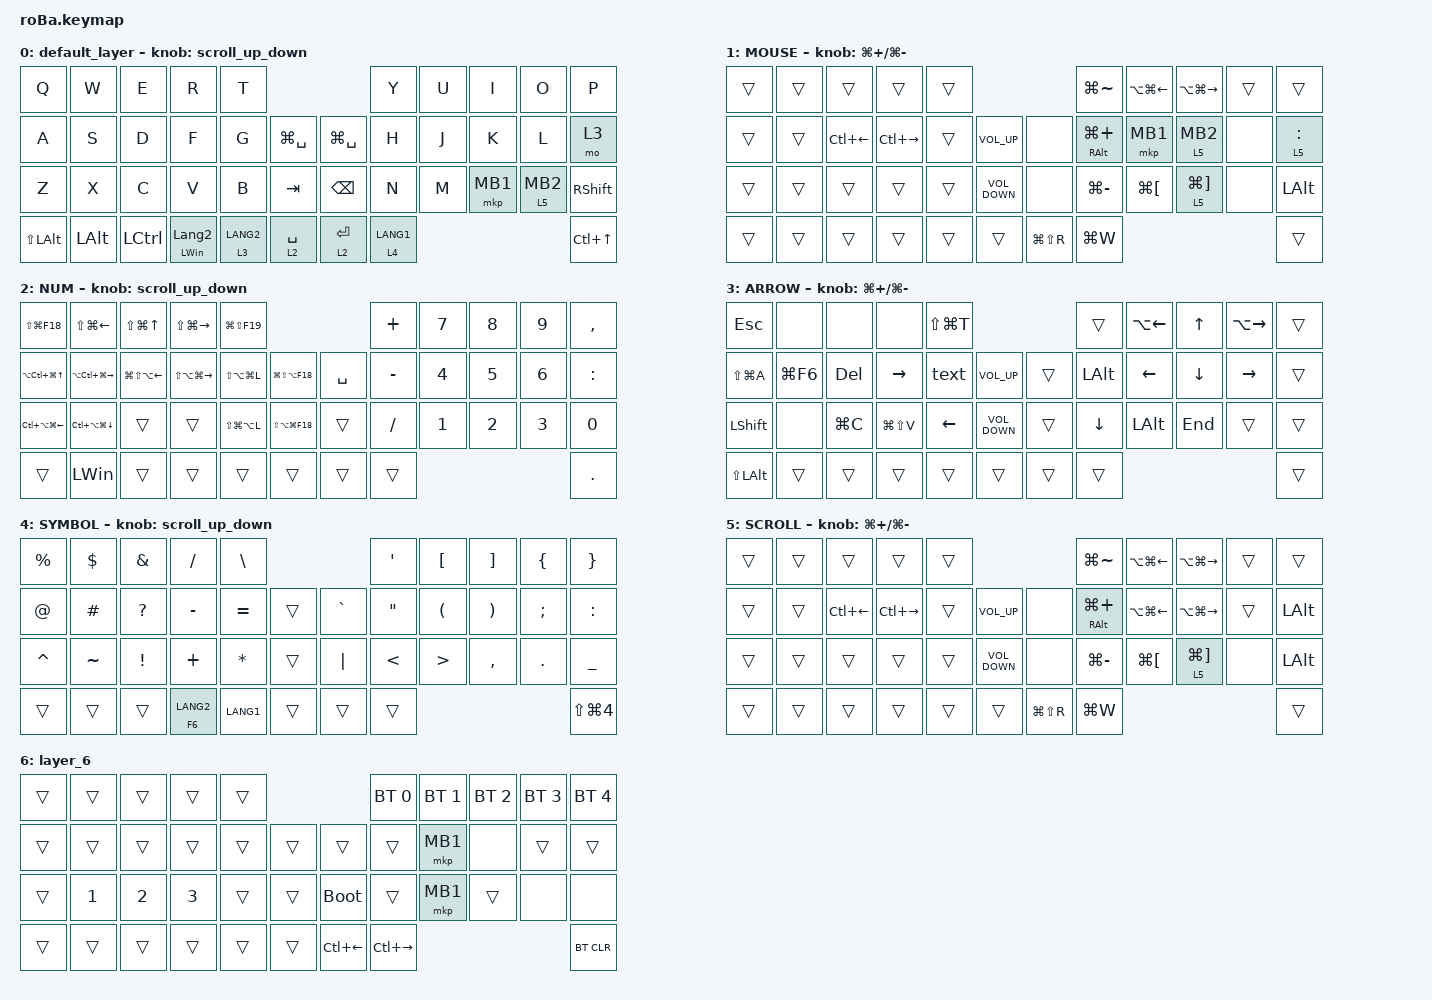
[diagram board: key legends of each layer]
#include <behaviors.dtsi>
#include <dt-bindings/zmk/bt.h>
#include <dt-bindings/zmk/keys.h>
#include <dt-bindings/zmk/pointing.h>

#define MOUSE 1
#define SCROLL 5
#define NUM 6
#define ZMK_POINTING_DEFAULT_SCRL_VAL 100

&mt {
    flavor = "tap-preferred";
    quick-tap-ms = <150>;
    tapping-term-ms = <150>;
    hold-while-undecided;
};

&sl { release-after-ms = <800>; };

&kt {
};

&lt {
    tapping-term-ms = <150>;
    quick-tap-ms = <150>;
    hold-while-undecided;
    flavor = "tap-preferred";
};

/ {
    combos {
        compatible = "zmk,combos";

        layer6 {
            bindings = <&mo 6>;
            key-positions = <35 34>;
        };
    };

    macros {
        to_layer_0: to_layer_0 {
            compatible = "zmk,behavior-macro-one-param";
            #binding-cells = <1>;
            bindings = <&to 0 &macro_param_1to1 &kp MACRO_PLACEHOLDER>;
            label = "TO_LAYER_0";
        };

        text: pass {
            compatible = "zmk,behavior-macro";
            #binding-cells = <0>;
            bindings = <&kp LS(K) &kp I &kp J &kp U &kp M &kp O &kp N8 &kp N0 &kp UNDER>;
            label = "PASS";
        };

        mkp_exit_AML: mkp_exit_AML {
            compatible = "zmk,behavior-macro-one-param";
            #binding-cells = <1>;
            bindings =
                <&macro_press>,
                <&macro_param_1to1 &mkp MACRO_PLACEHOLDER>,
                <&macro_pause_for_release>,
                <&macro_release>,
                <&macro_param_1to1 &mkp MACRO_PLACEHOLDER>,
                <&macro_tap>,
                <&sl 1>;

            label = "MKP_EXIT_AML";
        };

        to_layer_x_y: to_layer_x_y {
            compatible = "zmk,behavior-macro-two-param";
            #binding-cells = <2>;
            wait-ms = <0>; // オプション: アクションを即座に実行するための待機時間を0に設定
            bindings =
                <&macro_param_1to1>,
                <&macro_tap>,
                <&kp MACRO_PLACEHOLDER &to 0 &macro_param_2to1>,
                <&macro_press>,
                <&mo MACRO_PLACEHOLDER>,
                <&macro_pause_for_release>,
                <&macro_param_2to1>,
                <&macro_release>,
                <&mo MACRO_PLACEHOLDER &to 0>;

            label = "TO_LAYER_X_Y";
        };

        to_layer_0_3: to_layer_0_3 {
            compatible = "zmk,behavior-macro";
            #binding-cells = <0>;
            bindings =
                <&macro_press>,
                <&mo 3>,
                <&macro_pause_for_release>,
                <&macro_release>,
                <&macro_tap>,
                <&to 0>;

            label = "TO_LAYER_0_3";
        };

        to_layer_0_win: to_layer_0_win {
            compatible = "zmk,behavior-macro";
            #binding-cells = <0>;
            wait-ms = <0>; // オプション: アクションを即座に実行するための待機時間を0に設定
            bindings =
                <&macro_tap>,
                <&kp LANGUAGE_2 &to 0>,
                <&macro_press>,
                <&kp LEFT_WIN>,
                <&macro_pause_for_release>,
                <&macro_release>,
                <&kp LEFT_WIN>;

            label = "TO_LAYER_0_win";
        };

        to_layer_0_5: to_layer_0_5 {
            compatible = "zmk,behavior-macro";
            #binding-cells = <0>;
            bindings =
                <&macro_press>,
                <&mo 5>,
                <&macro_pause_for_release>,
                <&macro_release>,
                <&mo 5>,
                <&macro_tap>,
                <&to 0>;

            label = "TO_LAYER_0_5";
        };

        to_layer_0_shift: to_layer_0_shift {
            compatible = "zmk,behavior-macro";
            #binding-cells = <0>;
            bindings =
                <&macro_press>,
                <&mo 0 &kp RSHIFT>,
                <&macro_pause_for_release>,
                <&macro_release>,
                <&mo 0 &kp RSHIFT>,
                <&macro_tap>,
                <&to 0>;

            label = "TO_LAYER_0_shift";
        };

        to_layer_0_layer: to_layer_0_layer {
            compatible = "zmk,behavior-macro-one-param";
            #binding-cells = <1>;
            bindings = <&to 0 &macro_param_1to1 &mo MACRO_PLACEHOLDER>;
            label = "TO_LAYER_0_LAYER";
        };
    };

    behaviors {
        lt_to_layer_0: lt_to_layer_0 {
            compatible = "zmk,behavior-hold-tap";
            label = "LAYER_TAP_TO_0";
            bindings = <&mo>, <&to_layer_0>;

            #binding-cells = <2>;
            tapping-term-ms = <200>;
        };

        // スクロール設定

        scroll_up_down: behavior_sensor_rotate_mouse_wheel_up_down {
            compatible = "zmk,behavior-sensor-rotate";
            #sensor-binding-cells = <0>;
            bindings = <&msc SCRL_UP>, <&msc SCRL_DOWN>;

            // 追加: スクロールのタップ時間を設定 (20ms)

            tap-ms = <20>;
        };

        mouce_and_layer: mouce_and_layer {
            compatible = "zmk,behavior-hold-tap";
            label = "MOUCE_AND_LAYER";
            bindings = <&mo>, <&mkp>;

            #binding-cells = <2>;
            tapping-term-ms = <200>;
        };
    };

    keymap {
        compatible = "zmk,keymap";

        default_layer {
            bindings = <
&kp Q             &kp W         &kp E      &kp R                    &kp T                                          &kp Y        &kp U  &kp I     &kp O                   &kp P
&kp A             &kp S         &kp D      &kp F                    &kp G        &kp LG(SPACE)      &kp LG(SPACE)  &kp H        &kp J  &kp K     &kp L                   &mo 3
&kp Z             &kp X         &kp C      &kp V                    &kp B        &kp TAB            &kp BACKSPACE  &kp N        &kp M  &mkp MB1  &mouce_and_layer 5 MB2  &kp RSHIFT
&kp LS(LEFT_ALT)  &kp LEFT_ALT  &kp LCTRL  &mt LEFT_WIN LANGUAGE_2  &lt 3 LANG2  &lt 2 SPACE        &lt 2 ENTER    &lt 4 LANG1                                           &kp LC(UP)
            >;

            sensor-bindings = <&scroll_up_down>;
        };

        MOUSE {
            bindings = <
&trans  &trans  &trans        &trans         &trans                                        &kp LG(TILDE)           &kp LA(LG(LEFT))      &kp LA(LG(RIGHT))        &trans  &trans
&trans  &trans  &kp LC(LEFT)  &kp LC(RIGHT)  &trans  &kp C_VOLUME_UP        &none          &mt RIGHT_ALT LG(PLUS)  &mkp MB1              &mouce_and_layer 5 MB2   &none   &lt 5 COLON
&trans  &trans  &trans        &trans         &trans  &kp C_VOLUME_DOWN      &none          &kp LG(MINUS)           &kp LG(LEFT_BRACKET)  &lt 5 LG(RIGHT_BRACKET)  &none   &kp LEFT_ALT
&trans  &trans  &trans        &trans         &trans  &trans                 &kp LG(LS(R))  &kp LG(W)                                                                      &trans
            >;

            sensor-bindings = <&inc_dec_kp LG(PLUS) LG(MINUS)>;
        };

        NUM {
            bindings = <
&kp LS(LG(F18))       &kp LS(LG(LEFT))            &kp LS(LG(UP_ARROW))  &kp LS(LG(RIGHT))      &kp LG(LS(F19))                                        &kp PLUS   &kp N7        &kp N8        &kp N9        &kp COMMA
&kp LA(LC(LG(UP)))    &kp LA(LC(LG(RIGHT)))       &kp LG(LS(LA(LEFT)))  &kp LS(LA(LG(RIGHT)))  &kp LS(LA(LG(L)))  &kp LG(LS(LA(F18)))      &kp SPACE  &kp MINUS  &kp N4        &kp N5        &kp NUMBER_6  &kp COLON
&kp LC(LA(LG(LEFT)))  &kp LC(LA(LG(DOWN_ARROW)))  &trans                &trans                 &kp LS(LG(LA(L)))  &kp LS(LA(LG(F18)))      &trans     &kp SLASH  &kp NUMBER_1  &kp NUMBER_2  &kp NUMBER_3  &kp N0
&trans                &kp LEFT_WIN                &trans                &trans                 &trans             &trans                   &trans     &trans                                               &kp PERIOD
            >;

            sensor-bindings = <&scroll_up_down>;
        };

        ARROW {
            bindings = <
&kp ESCAPE        &none       &none       &none            &kp LS(LG(T))                                 &trans        &kp LA(LEFT)  &kp UP_ARROW  &kp LA(RIGHT)  &trans
&kp LS(LG(A))     &kp LG(F6)  &kp DELETE  &kp RIGHT_ARROW  &text          &kp C_VOLUME_UP        &trans  &kp LEFT_ALT  &kp LEFT      &kp DOWN      &kp RIGHT      &trans
&kp LEFT_SHIFT    &none       &kp LG(C)   &kp LG(LS(V))    &kp LEFT       &kp C_VOLUME_DOWN      &trans  &kp DOWN      &kp LEFT_ALT  &kp END       &trans         &trans
&kp LS(LEFT_ALT)  &trans      &trans      &trans           &trans         &trans                 &trans  &trans                                                   &trans
            >;

            sensor-bindings = <&inc_dec_kp LG(PLUS) LG(MINUS)>;
        };

        SYMBOL {
            bindings = <
&kp PERCENT  &kp DOLLAR  &kp AMPERSAND    &kp SLASH     &kp BACKSLASH                         &kp SQT            &kp LEFT_BRACKET      &kp RIGHT_BRACKET      &kp LEFT_BRACE  &kp RIGHT_BRACE
&kp AT_SIGN  &kp HASH    &kp QUESTION     &kp MINUS     &kp EQUAL      &trans      &kp GRAVE  &kp DOUBLE_QUOTES  &kp LEFT_PARENTHESIS  &kp RIGHT_PARENTHESIS  &kp SEMI        &kp COLON
&kp CARET    &kp TILDE   &kp EXCLAMATION  &kp PLUS      &kp ASTRK      &trans      &kp PIPE   &kp LT             &kp GREATER_THAN      &kp COMMA              &kp PERIOD      &kp UNDERSCORE
&trans       &trans      &trans           &mt F6 LANG2  &kp LANG1      &trans      &trans     &trans                                                                          &kp LS(LG(NUMBER_4))
            >;

            sensor-bindings = <&scroll_up_down>;
        };

        SCROLL {
            bindings = <
&trans  &trans  &trans        &trans         &trans                                        &kp LG(TILDE)           &kp LA(LG(LEFT))      &kp LA(LG(RIGHT))        &trans  &trans
&trans  &trans  &kp LC(LEFT)  &kp LC(RIGHT)  &trans  &kp C_VOLUME_UP        &none          &mt RIGHT_ALT LG(PLUS)  &kp LA(LG(LEFT))      &kp LA(LG(RIGHT))        &trans  &kp LEFT_ALT
&trans  &trans  &trans        &trans         &trans  &kp C_VOLUME_DOWN      &none          &kp LG(MINUS)           &kp LG(LEFT_BRACKET)  &lt 5 LG(RIGHT_BRACKET)  &none   &kp LEFT_ALT
&trans  &trans  &trans        &trans         &trans  &trans                 &kp LG(LS(R))  &kp LG(W)                                                                      &trans
            >;

            sensor-bindings = <&inc_dec_kp LG(PLUS) LG(MINUS)>;
        };

        layer_6 {
            bindings = <
&trans  &trans        &trans        &trans        &trans                            &bt BT_SEL 0   &bt BT_SEL 1  &bt BT_SEL 2  &bt BT_SEL 3  &bt BT_SEL 4
&trans  &trans        &trans        &trans        &trans  &trans      &trans        &trans         &mkp MB1      &none         &trans        &trans
&trans  &kp NUMBER_1  &kp NUMBER_2  &kp NUMBER_3  &trans  &trans      &bootloader   &trans         &mkp MB1      &trans        &none         &none
&trans  &trans        &trans        &trans        &trans  &trans      &kp LC(LEFT)  &kp LC(RIGHT)                                            &bt BT_CLR
            >;
        };
    };
};
